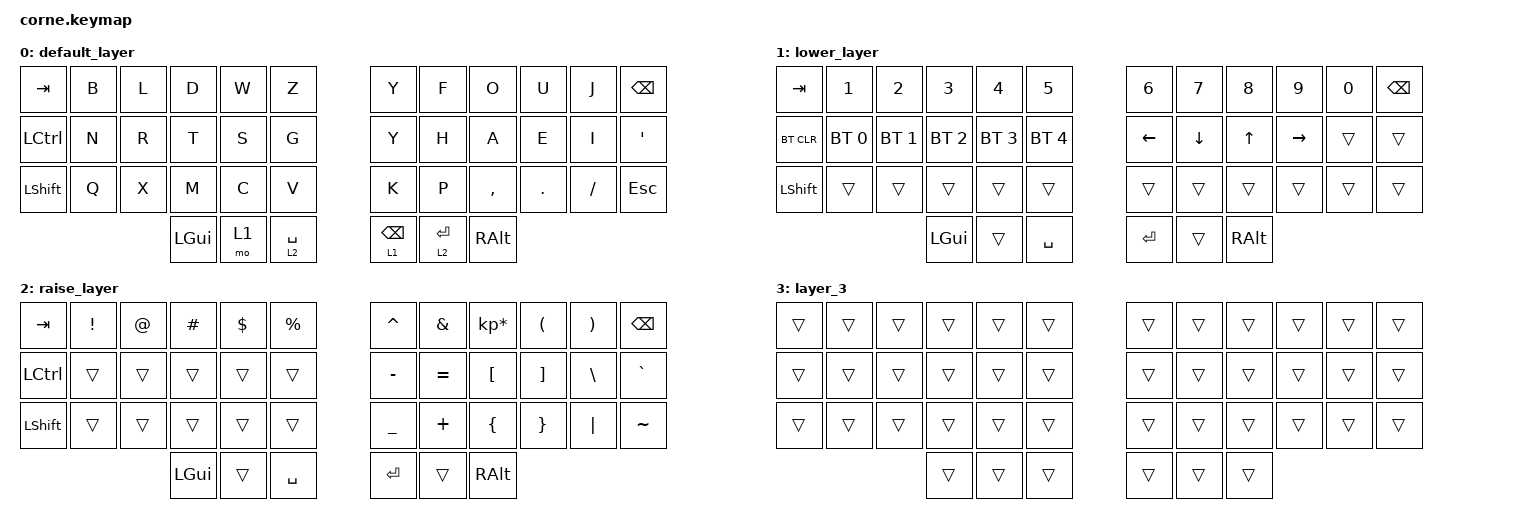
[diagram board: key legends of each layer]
/*
 * Copyright (c) 2020 The ZMK Contributors
 *
 * SPDX-License-Identifier: MIT
 */

#include <behaviors.dtsi>
#include <dt-bindings/zmk/bt.h>
#include <dt-bindings/zmk/keys.h>

/ {
    behaviors {
        SpaceSYM: SpaceSYM {
            compatible = "zmk,behavior-hold-tap";
            label = "SPACESYM";
            bindings = <&mo>, <&kp>;

            #binding-cells = <2>;
            tapping-term-ms = <300>;
        };
    };

    keymap {
        compatible = "zmk,keymap";

        default_layer {
            // -----------------------------------------------------------------------------------------
            // |  TAB |  Q  |  W  |  E  |  R  |  T  |   |  Y  |  U   |  I  |  O  |  P  | BKSP |
            // | CTRL |  A  |  S  |  D  |  F  |  G  |   |  H  |  J   |  K  |  L  |  ;  |  '   |
            // | SHFT |  Z  |  X  |  C  |  V  |  B  |   |  N  |  M   |  ,  |  .  |  /  | ESC  |
            //                    | GUI | LWR | SPC |   | ENT | RSE  | ALT |

            bindings = <
&kp TAB    &kp B  &kp L  &kp D     &kp W  &kp Z                &kp Y                  &kp F              &kp O      &kp U    &kp J     &kp BSPC
&kp LCTRL  &kp N  &kp R  &kp T     &kp S  &kp G                &kp Y                  &kp H              &kp A      &kp E    &kp I     &kp SQT
&kp LSHFT  &kp Q  &kp X  &kp M     &kp C  &kp V                &kp K                  &kp P              &kp COMMA  &kp DOT  &kp FSLH  &kp ESC
                         &kp LGUI  &mo 1  &SpaceSYM 2 SPACE    &SpaceSYM 1 BACKSPACE  &SpaceSYM 2 ENTER  &kp RALT
            >;
        };

        lower_layer {
            // -----------------------------------------------------------------------------------------
            // |  TAB |  1  |  2  |  3  |  4  |  5  |   |  6  |  7  |  8  |  9  |  0  | BKSP |
            // | BTCLR| BT1 | BT2 | BT3 | BT4 | BT5 |   | LFT | DWN |  UP | RGT |     |      |
            // | SHFT |     |     |     |     |     |   |     |     |     |     |     |      |
            //                    | GUI |     | SPC |   | ENT |     | ALT |

            bindings = <
&kp TAB     &kp N1        &kp N2        &kp N3        &kp N4        &kp N5          &kp N6    &kp N7    &kp N8    &kp N9     &kp N0  &kp BSPC
&bt BT_CLR  &bt BT_SEL 0  &bt BT_SEL 1  &bt BT_SEL 2  &bt BT_SEL 3  &bt BT_SEL 4    &kp LEFT  &kp DOWN  &kp UP    &kp RIGHT  &trans  &trans
&kp LSHFT   &trans        &trans        &trans        &trans        &trans          &trans    &trans    &trans    &trans     &trans  &trans
                                        &kp LGUI      &trans        &kp SPACE       &kp RET   &trans    &kp RALT
            >;
        };

        raise_layer {
            // -----------------------------------------------------------------------------------------
            // |  TAB |  !  |  @  |  #  |  $  |  %  |   |  ^  |  &  |  *  |  (  |  )  | BKSP |
            // | CTRL |     |     |     |     |     |   |  -  |  =  |  [  |  ]  |  \  |  `   |
            // | SHFT |     |     |     |     |     |   |  _  |  +  |  {  |  }  | "|" |  ~   |
            //                    | GUI |     | SPC |   | ENT |     | ALT |

            bindings = <
&kp TAB    &kp EXCL  &kp AT  &kp HASH  &kp DLLR  &kp PRCNT    &kp CARET  &kp AMPS   &kp KP_MULTIPLY  &kp LPAR  &kp RPAR  &kp BSPC
&kp LCTRL  &trans    &trans  &trans    &trans    &trans       &kp MINUS  &kp EQUAL  &kp LBKT         &kp RBKT  &kp BSLH  &kp GRAVE
&kp LSHFT  &trans    &trans  &trans    &trans    &trans       &kp UNDER  &kp PLUS   &kp LBRC         &kp RBRC  &kp PIPE  &kp TILDE
                             &kp LGUI  &trans    &kp SPACE    &kp RET    &trans     &kp RALT
            >;
        };

        layer_3 {
            bindings = <
&trans  &trans  &trans  &trans  &trans  &trans    &trans  &trans  &trans  &trans  &trans  &trans
&trans  &trans  &trans  &trans  &trans  &trans    &trans  &trans  &trans  &trans  &trans  &trans
&trans  &trans  &trans  &trans  &trans  &trans    &trans  &trans  &trans  &trans  &trans  &trans
                        &trans  &trans  &trans    &trans  &trans  &trans
            >;
        };
    };
};
